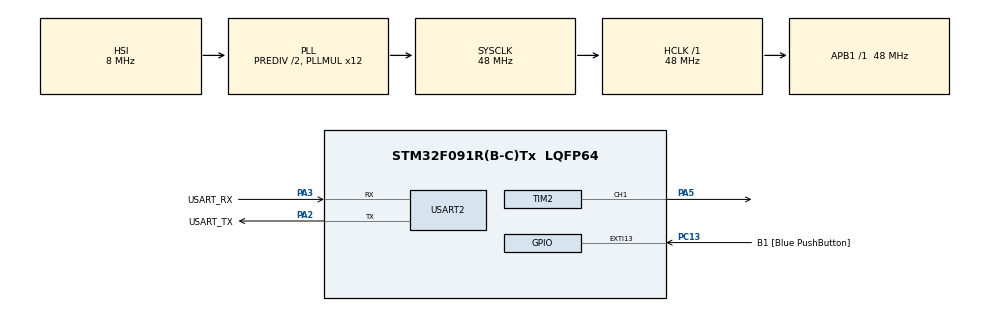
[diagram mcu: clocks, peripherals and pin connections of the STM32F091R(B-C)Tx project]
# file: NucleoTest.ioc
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FREERTOS.Tasks01=defaultTask,0,128,StartDefaultTask,Default,NULL,Dynamic,NULL,NULL
Mcu.Family=STM32F0
Mcu.Name=STM32F091R(B-C)Tx
Mcu.Package=LQFP64
NVIC.TIM1_BRK_UP_TRG_COM_IRQn=true\:3\:0\:false\:false\:true\:true\:true\:true\:true
NVIC.USART2_IRQn=true\:3\:0\:false\:false\:true\:true\:true\:true\:true
PA13.GPIO_Label=TMS
PA13.Mode=Serial_Wire
PA13.Signal=SYS_SWDIO
PA14.GPIO_Label=TCK
PA14.Mode=Serial_Wire
PA14.Signal=SYS_SWCLK
PA2.GPIO_Label=USART_TX
PA2.GPIO_Mode=GPIO_MODE_AF_PP
PA2.GPIO_PuPd=GPIO_NOPULL
PA2.GPIO_Speed=GPIO_SPEED_FREQ_LOW
PA2.Mode=Asynchronous
PA2.Signal=USART2_TX
PA3.GPIO_Label=USART_RX
PA3.GPIO_Mode=GPIO_MODE_AF_PP
PA3.GPIO_PuPd=GPIO_NOPULL
PA3.GPIO_Speed=GPIO_SPEED_FREQ_LOW
PA3.Mode=Asynchronous
PA3.Signal=USART2_RX
PA5.Signal=S_TIM2_CH1_ETR
PC13.GPIO_Label=B1 [Blue PushButton]
PC13.GPIO_ModeDefaultEXTI=GPIO_MODE_IT_FALLING
PC13.Signal=GPXTI13
PC14OSC32_IN.Mode=LSE-External-Oscillator
PC14OSC32_IN.Signal=RCC_OSC32_IN
PC15OSC32_OUT.Mode=LSE-External-Oscillator
PC15OSC32_OUT.Signal=RCC_OSC32_OUT
PF0-OSC_IN.Mode=HSE-External-Clock-Source
PF0-OSC_IN.Signal=RCC_OSC_IN
PF1-OSC_OUT.Signal=RCC_OSC_OUT
ProjectManager.HeapSize=0x200
ProjectManager.StackSize=0x400
ProjectManager.TargetToolchain=STM32CubeIDE
RCC.AHBFreq_Value=48000000
RCC.APB1Freq_Value=48000000
RCC.APB1TimFreq_Value=48000000
RCC.FLatency-AdvancedSettings=FLASH_LATENCY_1
RCC.HCLKFreq_Value=48000000
RCC.PLLDivider=RCC_PREDIV_DIV2
RCC.PLLMUL=RCC_PLL_MUL12
RCC.PREFETCH_ENABLE-AdvancedSettings=1
RCC.SYSCLKFreq_VALUE=48000000
RCC.SYSCLKSource=RCC_SYSCLKSOURCE_PLLCLK
SH.S_TIM2_CH1_ETR.0=TIM2_CH1,PWM Generation1 CH1
TIM1.Prescaler=500
TIM2.AutoReloadPreload=TIM_AUTORELOAD_PRELOAD_ENABLE
TIM2.Channel-PWM\ Generation1\ CH1=TIM_CHANNEL_1
TIM2.Period=1000
TIM2.Prescaler=24
TIM2.Pulse-PWM\ Generation1\ CH1=0
USART2.VirtualMode-Asynchronous=VM_ASYNC
VP_FREERTOS_VS_CMSIS_V1.Mode=CMSIS_V1
VP_TIM1_VS_ClockSourceINT.Mode=Internal
VP_TIM2_VS_ClockSourceINT.Mode=Internal
board=NUCLEO-F091RC

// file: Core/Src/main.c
/* USER CODE BEGIN Header */
/**
  ******************************************************************************
  * @file           : main.c
  * @brief          : Main program body
  ******************************************************************************
  * @attention
  *
  * Copyright (c) 2024 STMicroelectronics.
  * All rights reserved.
  *
  * This software is licensed under terms that can be found in the LICENSE file
  * in the root directory of this software component.
  * If no LICENSE file comes with this software, it is provided AS-IS.
  *
  ******************************************************************************
  */

/* USER CODE END Header */
#include "main.h"
#include "cmsis_os.h"

/* USER CODE BEGIN Includes */
#include "UartManager.h"

/* USER CODE END Includes */

TIM_HandleTypeDef htim1;
TIM_HandleTypeDef htim2;

UART_HandleTypeDef huart2;

osThreadId defaultTaskHandle;
/* USER CODE BEGIN PV */
osThreadId UartTaskHandle;
#ifdef _OS_MESSAGE_
osMessageQId UartRxDataHandle;
#endif
/* USER CODE END PV */

void SystemClock_Config(void);
static void MX_GPIO_Init(void);
static void MX_USART2_UART_Init(void);
static void MX_TIM1_Init(void);
static void MX_TIM2_Init(void);
void StartDefaultTask(void const * argument);

int main(void)
{

  /* MCU Configuration--------------------------------------------------------*/

  /* Reset of all peripherals, Initializes the Flash interface and the Systick. */
  HAL_Init();

  /* Configure the system clock */
  SystemClock_Config();

  /* Initialize all configured peripherals */
  MX_GPIO_Init();
  MX_USART2_UART_Init();
  MX_TIM1_Init();
  MX_TIM2_Init();

  /* USER CODE BEGIN RTOS_QUEUES */
  /* add queues, ... */
  /* Create the queue(s) */
  /* definition and creation of UartRxData */
#ifdef _OS_MESSAGE_
  osMessageQDef(UartRxDataQueue, 16, uint32_t);
  UartRxDataHandle = osMessageCreate(osMessageQ(UartRxDataQueue), NULL);
#endif
  /* USER CODE END RTOS_QUEUES */

  /* Create the thread(s) */
  /* definition and creation of defaultTask */
  osThreadDef(defaultTask, StartDefaultTask, osPriorityNormal, 0, 128);
  defaultTaskHandle = osThreadCreate(osThread(defaultTask), NULL);

  /* USER CODE BEGIN RTOS_THREADS */
  /* definition and creation of UartTask */
  osThreadDef(UartTask, URT_TaskManager, osPriorityIdle, 0, 128);
  UartTaskHandle = osThreadCreate(osThread(UartTask), NULL);
  /* USER CODE END RTOS_THREADS */

  /* Start scheduler */
  osKernelStart();

  /* We should never get here as control is now taken by the scheduler */
  /* Infinite loop */
  while (1)
  {

  }
}

void SystemClock_Config(void)
{
  RCC_OscInitTypeDef RCC_OscInitStruct = {0};
  RCC_ClkInitTypeDef RCC_ClkInitStruct = {0};
  RCC_PeriphCLKInitTypeDef PeriphClkInit = {0};

  /** Initializes the RCC Oscillators according to the specified parameters
  * in the RCC_OscInitTypeDef structure.
  */
  RCC_OscInitStruct.OscillatorType = RCC_OSCILLATORTYPE_HSI;
  RCC_OscInitStruct.HSIState = RCC_HSI_ON;
  RCC_OscInitStruct.HSICalibrationValue = RCC_HSICALIBRATION_DEFAULT;
  RCC_OscInitStruct.PLL.PLLState = RCC_PLL_ON;
  RCC_OscInitStruct.PLL.PLLSource = RCC_PLLSOURCE_HSI;
  RCC_OscInitStruct.PLL.PLLMUL = RCC_PLL_MUL12;
  RCC_OscInitStruct.PLL.PREDIV = RCC_PREDIV_DIV2;
  if (HAL_RCC_OscConfig(&RCC_OscInitStruct) != HAL_OK)
  {
    Error_Handler();
  }

  /** Initializes the CPU, AHB and APB buses clocks
  */
  RCC_ClkInitStruct.ClockType = RCC_CLOCKTYPE_HCLK|RCC_CLOCKTYPE_SYSCLK
                              |RCC_CLOCKTYPE_PCLK1;
  RCC_ClkInitStruct.SYSCLKSource = RCC_SYSCLKSOURCE_PLLCLK;
  RCC_ClkInitStruct.AHBCLKDivider = RCC_SYSCLK_DIV1;
  RCC_ClkInitStruct.APB1CLKDivider = RCC_HCLK_DIV1;

  if (HAL_RCC_ClockConfig(&RCC_ClkInitStruct, FLASH_LATENCY_1) != HAL_OK)
  {
    Error_Handler();
  }
  PeriphClkInit.PeriphClockSelection = RCC_PERIPHCLK_USART2;
  PeriphClkInit.Usart2ClockSelection = RCC_USART2CLKSOURCE_PCLK1;
  if (HAL_RCCEx_PeriphCLKConfig(&PeriphClkInit) != HAL_OK)
  {
    Error_Handler();
  }
}

static void MX_TIM1_Init(void)
{

  TIM_ClockConfigTypeDef sClockSourceConfig = {0};
  TIM_MasterConfigTypeDef sMasterConfig = {0};

  htim1.Instance = TIM1;
  htim1.Init.Prescaler = 500;
  htim1.Init.CounterMode = TIM_COUNTERMODE_UP;
  htim1.Init.Period = 65535;
  htim1.Init.ClockDivision = TIM_CLOCKDIVISION_DIV1;
  htim1.Init.RepetitionCounter = 0;
  htim1.Init.AutoReloadPreload = TIM_AUTORELOAD_PRELOAD_DISABLE;
  if (HAL_TIM_Base_Init(&htim1) != HAL_OK)
  {
    Error_Handler();
  }
  sClockSourceConfig.ClockSource = TIM_CLOCKSOURCE_INTERNAL;
  if (HAL_TIM_ConfigClockSource(&htim1, &sClockSourceConfig) != HAL_OK)
  {
    Error_Handler();
  }
  sMasterConfig.MasterOutputTrigger = TIM_TRGO_RESET;
  sMasterConfig.MasterSlaveMode = TIM_MASTERSLAVEMODE_DISABLE;
  if (HAL_TIMEx_MasterConfigSynchronization(&htim1, &sMasterConfig) != HAL_OK)
  {
    Error_Handler();
  }

}

static void MX_TIM2_Init(void)
{

  TIM_ClockConfigTypeDef sClockSourceConfig = {0};
  TIM_MasterConfigTypeDef sMasterConfig = {0};
  TIM_OC_InitTypeDef sConfigOC = {0};

  htim2.Instance = TIM2;
  htim2.Init.Prescaler = 24;
  htim2.Init.CounterMode = TIM_COUNTERMODE_UP;
  htim2.Init.Period = 1000;
  htim2.Init.ClockDivision = TIM_CLOCKDIVISION_DIV1;
  htim2.Init.AutoReloadPreload = TIM_AUTORELOAD_PRELOAD_ENABLE;
  if (HAL_TIM_Base_Init(&htim2) != HAL_OK)
  {
    Error_Handler();
  }
  sClockSourceConfig.ClockSource = TIM_CLOCKSOURCE_INTERNAL;
  if (HAL_TIM_ConfigClockSource(&htim2, &sClockSourceConfig) != HAL_OK)
  {
    Error_Handler();
  }
  if (HAL_TIM_PWM_Init(&htim2) != HAL_OK)
  {
    Error_Handler();
  }
  sMasterConfig.MasterOutputTrigger = TIM_TRGO_RESET;
  sMasterConfig.MasterSlaveMode = TIM_MASTERSLAVEMODE_DISABLE;
  if (HAL_TIMEx_MasterConfigSynchronization(&htim2, &sMasterConfig) != HAL_OK)
  {
    Error_Handler();
  }
  sConfigOC.OCMode = TIM_OCMODE_PWM1;
  sConfigOC.Pulse = 0;
  sConfigOC.OCPolarity = TIM_OCPOLARITY_HIGH;
  sConfigOC.OCFastMode = TIM_OCFAST_DISABLE;
  if (HAL_TIM_PWM_ConfigChannel(&htim2, &sConfigOC, TIM_CHANNEL_1) != HAL_OK)
  {
    Error_Handler();
  }
  HAL_TIM_MspPostInit(&htim2);

}

static void MX_USART2_UART_Init(void)
{

  huart2.Instance = USART2;
  huart2.Init.BaudRate = 115200;
  huart2.Init.WordLength = UART_WORDLENGTH_8B;
  huart2.Init.StopBits = UART_STOPBITS_1;
  huart2.Init.Parity = UART_PARITY_NONE;
  huart2.Init.Mode = UART_MODE_TX_RX;
  huart2.Init.HwFlowCtl = UART_HWCONTROL_NONE;
  huart2.Init.OverSampling = UART_OVERSAMPLING_16;
  huart2.Init.OneBitSampling = UART_ONE_BIT_SAMPLE_DISABLE;
  huart2.AdvancedInit.AdvFeatureInit = UART_ADVFEATURE_NO_INIT;
  if (HAL_UART_Init(&huart2) != HAL_OK)
  {
    Error_Handler();
  }

}

static void MX_GPIO_Init(void)
{
  GPIO_InitTypeDef GPIO_InitStruct = {0};

  /* GPIO Ports Clock Enable */
  __HAL_RCC_GPIOC_CLK_ENABLE();
  __HAL_RCC_GPIOF_CLK_ENABLE();
  __HAL_RCC_GPIOA_CLK_ENABLE();

  /*Configure GPIO pin : B1_Pin */
  GPIO_InitStruct.Pin = B1_Pin;
  GPIO_InitStruct.Mode = GPIO_MODE_IT_FALLING;
  GPIO_InitStruct.Pull = GPIO_NOPULL;
  HAL_GPIO_Init(B1_GPIO_Port, &GPIO_InitStruct);

}

/* USER CODE BEGIN 4 */
extern float DutyCycle;
/* USER CODE END 4 */

void StartDefaultTask(void const * argument)
{
  /* USER CODE BEGIN 5 */
  MessageUart messagetoInterrupt = { .Size = 4,
      .pData = "Test"};

  /* Infinite loop */
  for(;;)
  {
    osDelay(10);
    if (HAL_GPIO_ReadPin(B1_GPIO_Port, B1_Pin) == 0)
    {
#ifdef _OS_MESSAGE_
      osMessagePut(UartRxDataHandle, (uint32_t)&messagetoInterrupt, 100);
#endif

    }
  }
  /* USER CODE END 5 */
}

void Error_Handler(void)
{
  __disable_irq();
  while (1)
  {
  }
}

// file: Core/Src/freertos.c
/* USER CODE BEGIN Header */
/**
  ******************************************************************************
  * File Name          : freertos.c
  * Description        : Code for freertos applications
  ******************************************************************************
  * @attention
  *
  * Copyright (c) 2024 STMicroelectronics.
  * All rights reserved.
  *
  * This software is licensed under terms that can be found in the LICENSE file
  * in the root directory of this software component.
  * If no LICENSE file comes with this software, it is provided AS-IS.
  *
  ******************************************************************************
  */

/* USER CODE END Header */

#include "FreeRTOS.h"
#include "task.h"
#include "main.h"

/* GetIdleTaskMemory prototype (linked to static allocation support) */
void vApplicationGetIdleTaskMemory( StaticTask_t **ppxIdleTaskTCBBuffer, StackType_t **ppxIdleTaskStackBuffer, uint32_t *pulIdleTaskStackSize );

/* USER CODE BEGIN GET_IDLE_TASK_MEMORY */
static StaticTask_t xIdleTaskTCBBuffer;
static StackType_t xIdleStack[configMINIMAL_STACK_SIZE];

void vApplicationGetIdleTaskMemory( StaticTask_t **ppxIdleTaskTCBBuffer, StackType_t **ppxIdleTaskStackBuffer, uint32_t *pulIdleTaskStackSize )
{
  *ppxIdleTaskTCBBuffer = &xIdleTaskTCBBuffer;
  *ppxIdleTaskStackBuffer = &xIdleStack[0];
  *pulIdleTaskStackSize = configMINIMAL_STACK_SIZE;
  /* place for user code */
}
/* USER CODE END GET_IDLE_TASK_MEMORY */
